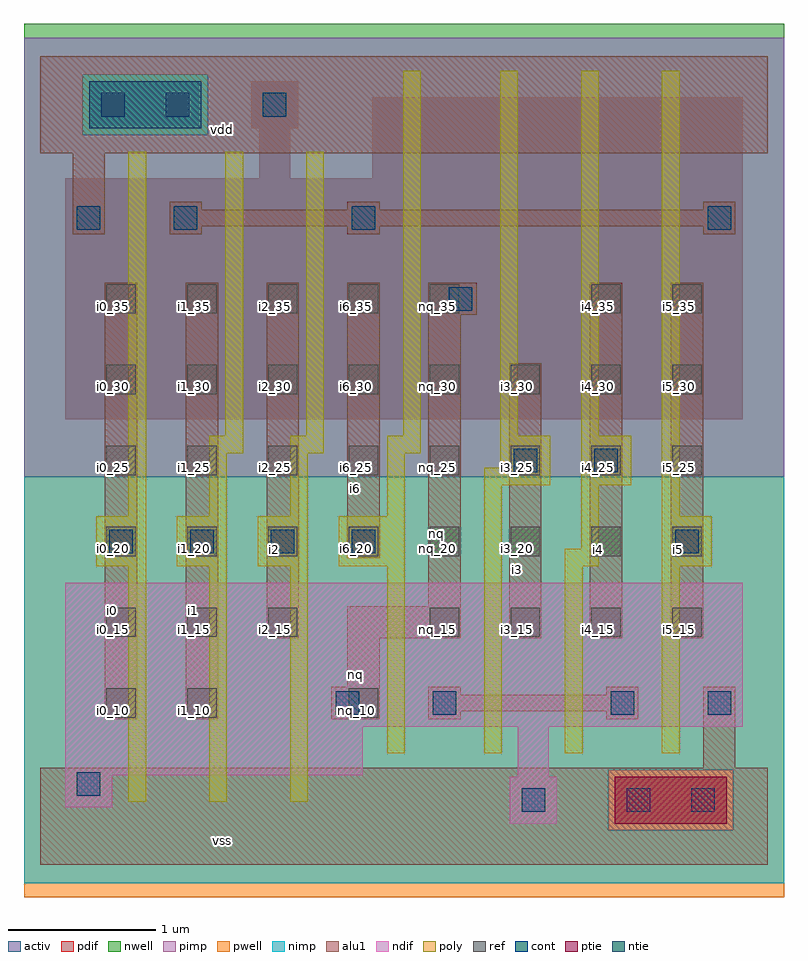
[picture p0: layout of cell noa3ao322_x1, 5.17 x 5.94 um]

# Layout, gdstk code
import gdstk
lib = gdstk.Library(unit=1e-6, precision=2.5e-09)
def R(c, l, rs):  # rectangles x0, y0, x1, y1
    for r in rs: c.add(gdstk.rectangle(r[:2], r[2:], *l))
def A(c, l, x, y, w, h, nx, ny, dx, dy):  # array of equal rectangles
    R(c, l, [(x+i*dx, y+j*dy, x+i*dx+w, y+j*dy+h) for i in range(nx) for j in range(ny)])
ndif = (3, 0)
pdif = (4, 0)
ntie = (5, 0)
ptie = (6, 0)
ref = (24, 0)
cont = (25, 0)
pwell = (41, 0)
nwell = (42, 0)
activ = (43, 0)
pimp = (44, 0)
nimp = (45, 0)
poly = (46, 0)
alu1 = (49, 0)

noa3ao322_x1 = lib.new_cell('noa3ao322_x1')
R(noa3ao322_x1, ndif, [(3.195,0.28,3.515,0.6), (3.195,0.28,3.515,0.6), (0.17,0.39,0.49,0.61), (0.17,0.39,0.49,0.61), (3.25,0.6,3.46,0.94), (3.25,0.6,3.46,0.94), (0.17,0.61,2.195,0.94), (0.17,0.61,2.195,0.94), (0.17,0.94,4.78,1.92), (0.17,0.94,4.78,1.92)])
R(noa3ao322_x1, pdif, [(0.17,3.03,4.78,4.67), (0.17,3.03,4.78,4.67), (1.49,4.67,1.7,5.01), (1.49,4.67,1.7,5.01), (2.26,4.67,4.78,5.22), (2.26,4.67,4.78,5.22), (1.435,5.01,1.755,5.33), (1.435,5.01,1.755,5.33)])
R(noa3ao322_x1, ntie, [(0.335,5.01,1.095,5.33), (0.335,5.01,1.095,5.33)])
R(noa3ao322_x1, ptie, [(3.91,0.28,4.67,0.6), (3.91,0.28,4.67,0.6)])
A(noa3ao322_x1, ref, 0.45, 1.55, 0.2, 0.2, 3, 1, 0.55, 0)
A(noa3ao322_x1, ref, 2.65, 1.55, 0.2, 0.2, 4, 1, 0.55, 0)
A(noa3ao322_x1, ref, 0.45, 2.1, 0.2, 0.2, 8, 3, 0.55, 0.55)
A(noa3ao322_x1, ref, 0.45, 3.75, 0.2, 0.2, 5, 1, 0.55, 0)
R(noa3ao322_x1, ref, [(0.45,1,0.65,1.2), (1,1,1.2,1.2), (2.1,1,2.3,1.2), (3.75,3.75,3.95,3.95), (4.3,3.75,4.5,3.95)])
A(noa3ao322_x1, cont, 0.47, 2.12, 0.16, 0.16, 4, 1, 0.55, 0)
R(noa3ao322_x1, cont, [(3.275,0.36,3.435,0.52), (3.99,0.36,4.15,0.52), (4.43,0.36,4.59,0.52), (0.25,0.47,0.41,0.63), (2.01,1.02,2.17,1.18), (2.67,1.02,2.83,1.18), (3.88,1.02,4.04,1.18), (4.54,1.02,4.7,1.18), (4.32,2.12,4.48,2.28), (3.22,2.67,3.38,2.83), (3.77,2.67,3.93,2.83), (2.78,3.77,2.94,3.93), (0.25,4.32,0.41,4.48), (0.91,4.32,1.07,4.48), (2.12,4.32,2.28,4.48), (4.54,4.32,4.7,4.48), (0.415,5.09,0.575,5.25), (0.855,5.09,1.015,5.25), (1.515,5.09,1.675,5.25)])
R(noa3ao322_x1, pwell, [(-0.11,-0.22,5.06,2.64)])
R(noa3ao322_x1, nwell, [(-0.11,2.64,5.06,5.72)])
R(noa3ao322_x1, activ, [(3.195,0.28,3.515,0.6), (3.195,0.28,3.515,0.6), (3.91,0.28,4.67,0.6), (3.91,0.28,4.67,0.6), (0.17,0.39,0.49,0.61), (0.17,0.39,0.49,0.61), (3.25,0.6,3.46,0.94), (3.25,0.6,3.46,0.94), (0.17,0.61,2.195,0.94), (0.17,0.61,2.195,0.94), (0.17,0.94,4.78,1.92), (0.17,0.94,4.78,1.92), (0.17,3.03,4.78,4.67), (0.17,3.03,4.78,4.67), (1.49,4.67,1.7,5.01), (1.49,4.67,1.7,5.01), (2.26,4.67,4.78,5.22), (2.26,4.67,4.78,5.22), (0.335,5.01,1.095,5.33), (0.335,5.01,1.095,5.33), (1.435,5.01,1.755,5.33), (1.435,5.01,1.755,5.33)])
R(noa3ao322_x1, pimp, [(3.865,0.235,4.715,0.645), (-0.11,2.64,5.06,4.965), (-0.11,4.965,0.29,5.375), (1.14,4.965,5.06,5.375), (-0.11,5.375,5.06,5.625)])
R(noa3ao322_x1, nimp, [(-0.11,-0.125,5.06,0.235), (-0.11,0.235,3.865,0.645), (4.715,0.235,5.06,0.645), (-0.11,0.645,5.06,2.64), (0.29,4.965,1.14,5.375)])
A(noa3ao322_x1, poly, 0.6, 0.43, 0.12, 1.6, 3, 1, 0.55, 0)
A(noa3ao322_x1, poly, 0.38, 2.03, 0.34, 0.34, 3, 1, 0.55, 0)
R(noa3ao322_x1, poly, [(2.36,0.76,2.48,2.03), (3.02,0.76,3.14,2.58), (3.57,0.76,3.69,2.03), (4.23,0.76,4.35,2.03), (2.03,2.03,2.48,2.37), (3.57,2.03,3.8,2.15), (4.23,2.03,4.57,2.37), (3.68,2.15,3.8,2.58), (0.6,2.37,0.72,4.85), (1.15,2.37,1.27,2.8), (1.7,2.37,1.82,2.8), (2.36,2.37,2.48,2.8), (4.23,2.37,4.35,5.4), (3.02,2.58,3.47,2.7), (3.68,2.58,4.02,2.92), (3.13,2.7,3.47,2.92), (1.15,2.8,1.38,2.92), (1.7,2.8,1.93,2.92), (2.36,2.8,2.59,2.92), (1.26,2.92,1.38,4.85), (1.81,2.92,1.93,4.85), (2.47,2.92,2.59,5.4), (3.13,2.92,3.25,5.4), (3.68,2.92,3.8,5.4)])
R(noa3ao322_x1, alu1, [(0,0,4.95,0.66), (4.51,0.66,4.73,1.21), (0.44,0.99,0.66,3.96), (0.99,0.99,1.21,3.96), (1.98,0.99,2.31,1.21), (2.64,0.99,2.86,1.045), (3.85,0.99,4.07,1.045), (2.64,1.045,4.07,1.155), (2.64,1.155,2.86,1.21), (3.85,1.155,4.07,1.21), (2.09,1.21,2.31,1.54), (1.54,1.54,1.76,3.96), (2.09,1.54,2.86,1.76), (3.19,1.54,3.41,3.41), (3.74,1.54,3.96,3.96), (4.29,1.54,4.51,3.96), (2.64,1.76,2.86,3.74), (2.09,2.09,2.31,3.96), (2.64,3.74,2.97,3.96), (0.22,4.29,0.44,4.84), (0.88,4.29,1.1,4.345), (2.09,4.29,2.31,4.345), (4.51,4.29,4.73,4.345), (0.88,4.345,4.73,4.455), (0.88,4.455,1.1,4.51), (2.09,4.455,2.31,4.51), (4.51,4.455,4.73,4.51), (0,4.84,4.95,5.5)])
noa3ao322_x1.add(gdstk.Label('vss', (1.2375,0.165), layer=49, texttype=0))
noa3ao322_x1.add(gdstk.Label('nq', (2.145,1.2925), layer=49, texttype=0))
noa3ao322_x1.add(gdstk.Label('i5', (4.345,2.145), layer=49, texttype=0))
noa3ao322_x1.add(gdstk.Label('i4', (3.795,2.145), layer=49, texttype=0))
noa3ao322_x1.add(gdstk.Label('i3', (3.245,2.0075), layer=49, texttype=0))
noa3ao322_x1.add(gdstk.Label('nq', (2.695,2.255), layer=49, texttype=0))
noa3ao322_x1.add(gdstk.Label('i6', (2.145,2.5575), layer=49, texttype=0))
noa3ao322_x1.add(gdstk.Label('i2', (1.595,2.145), layer=49, texttype=0))
noa3ao322_x1.add(gdstk.Label('i1', (1.045,1.7325), layer=49, texttype=0))
noa3ao322_x1.add(gdstk.Label('i0', (0.495,1.7325), layer=49, texttype=0))
noa3ao322_x1.add(gdstk.Label('vdd', (1.2375,5.005), layer=49, texttype=0))
noa3ao322_x1.add(gdstk.Label('i1_10', (1.05,1.05), layer=24, texttype=0))
noa3ao322_x1.add(gdstk.Label('i1_15', (1.05,1.6), layer=24, texttype=0))
noa3ao322_x1.add(gdstk.Label('i1_20', (1.05,2.15), layer=24, texttype=0))
noa3ao322_x1.add(gdstk.Label('i1_25', (1.05,2.7), layer=24, texttype=0))
noa3ao322_x1.add(gdstk.Label('i1_30', (1.05,3.25), layer=24, texttype=0))
noa3ao322_x1.add(gdstk.Label('i1_35', (1.05,3.8), layer=24, texttype=0))
noa3ao322_x1.add(gdstk.Label('i2_15', (1.6,1.6), layer=24, texttype=0))
noa3ao322_x1.add(gdstk.Label('i2_20', (1.6,2.15), layer=24, texttype=0))
noa3ao322_x1.add(gdstk.Label('i2_25', (1.6,2.7), layer=24, texttype=0))
noa3ao322_x1.add(gdstk.Label('i2_30', (1.6,3.25), layer=24, texttype=0))
noa3ao322_x1.add(gdstk.Label('i2_35', (1.6,3.8), layer=24, texttype=0))
noa3ao322_x1.add(gdstk.Label('nq_10', (2.15,1.05), layer=24, texttype=0))
noa3ao322_x1.add(gdstk.Label('i6_20', (2.15,2.15), layer=24, texttype=0))
noa3ao322_x1.add(gdstk.Label('i6_25', (2.15,2.7), layer=24, texttype=0))
noa3ao322_x1.add(gdstk.Label('i6_30', (2.15,3.25), layer=24, texttype=0))
noa3ao322_x1.add(gdstk.Label('i6_35', (2.15,3.8), layer=24, texttype=0))
noa3ao322_x1.add(gdstk.Label('nq_15', (2.7,1.6), layer=24, texttype=0))
noa3ao322_x1.add(gdstk.Label('nq_20', (2.7,2.15), layer=24, texttype=0))
noa3ao322_x1.add(gdstk.Label('nq_25', (2.7,2.7), layer=24, texttype=0))
noa3ao322_x1.add(gdstk.Label('nq_30', (2.7,3.25), layer=24, texttype=0))
noa3ao322_x1.add(gdstk.Label('nq_35', (2.7,3.8), layer=24, texttype=0))
noa3ao322_x1.add(gdstk.Label('i3_15', (3.25,1.6), layer=24, texttype=0))
noa3ao322_x1.add(gdstk.Label('i3_20', (3.25,2.15), layer=24, texttype=0))
noa3ao322_x1.add(gdstk.Label('i3_25', (3.25,2.7), layer=24, texttype=0))
noa3ao322_x1.add(gdstk.Label('i3_30', (3.25,3.25), layer=24, texttype=0))
noa3ao322_x1.add(gdstk.Label('i4_15', (3.8,1.6), layer=24, texttype=0))
noa3ao322_x1.add(gdstk.Label('i4_20', (3.8,2.15), layer=24, texttype=0))
noa3ao322_x1.add(gdstk.Label('i4_25', (3.8,2.7), layer=24, texttype=0))
noa3ao322_x1.add(gdstk.Label('i4_30', (3.8,3.25), layer=24, texttype=0))
noa3ao322_x1.add(gdstk.Label('i4_35', (3.8,3.8), layer=24, texttype=0))
noa3ao322_x1.add(gdstk.Label('i5_15', (4.35,1.6), layer=24, texttype=0))
noa3ao322_x1.add(gdstk.Label('i5_20', (4.35,2.15), layer=24, texttype=0))
noa3ao322_x1.add(gdstk.Label('i5_25', (4.35,2.7), layer=24, texttype=0))
noa3ao322_x1.add(gdstk.Label('i5_30', (4.35,3.25), layer=24, texttype=0))
noa3ao322_x1.add(gdstk.Label('i5_35', (4.35,3.8), layer=24, texttype=0))
noa3ao322_x1.add(gdstk.Label('i0_10', (0.5,1.05), layer=24, texttype=0))
noa3ao322_x1.add(gdstk.Label('i0_15', (0.5,1.6), layer=24, texttype=0))
noa3ao322_x1.add(gdstk.Label('i0_20', (0.5,2.15), layer=24, texttype=0))
noa3ao322_x1.add(gdstk.Label('i0_25', (0.5,2.7), layer=24, texttype=0))
noa3ao322_x1.add(gdstk.Label('i0_30', (0.5,3.25), layer=24, texttype=0))
noa3ao322_x1.add(gdstk.Label('i0_35', (0.5,3.8), layer=24, texttype=0))

lib.write_gds('noa3ao322_x1.gds')
